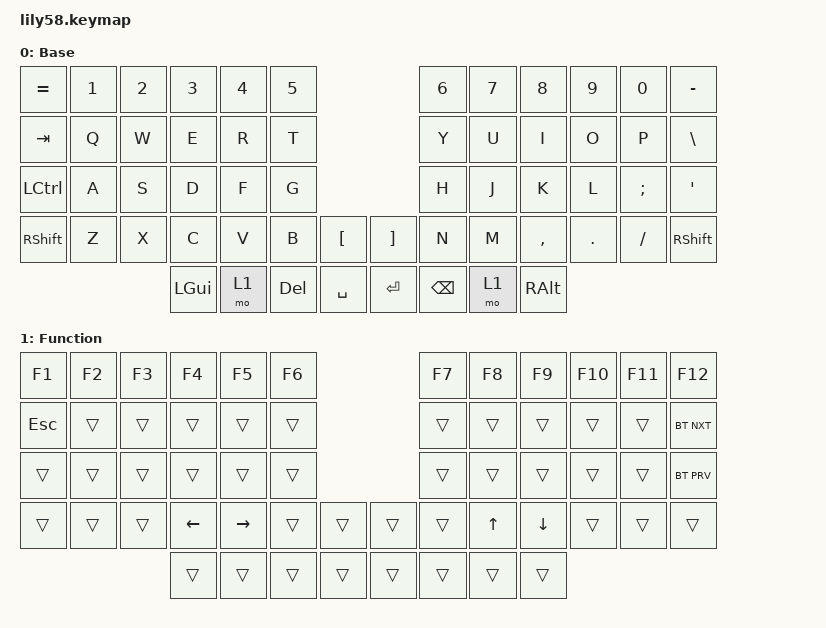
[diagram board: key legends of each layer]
/*
 * Copyright (c) 2020 The ZMK Contributors
 *
 * SPDX-License-Identifier: MIT
 */

#include <behaviors.dtsi>
#include <dt-bindings/zmk/bt.h>
#include <dt-bindings/zmk/keys.h>

/ {
    keymap {
        compatible = "zmk,keymap";

        Base {
            bindings = <
&kp EQUAL  &kp N1  &kp N2  &kp N3        &kp N4  &kp N5                           &kp N6    &kp N7  &kp N8     &kp N9   &kp N0    &kp MINUS
&kp TAB    &kp Q   &kp W   &kp E         &kp R   &kp T                            &kp Y     &kp U   &kp I      &kp O    &kp P     &kp BSLH
&kp LCTRL  &kp A   &kp S   &kp D         &kp F   &kp G                            &kp H     &kp J   &kp K      &kp L    &kp SEMI  &kp APOS
&kp RSHFT  &kp Z   &kp X   &kp C         &kp V   &kp B    &kp LBKT     &kp RBKT   &kp N     &kp M   &kp COMMA  &kp DOT  &kp FSLH  &kp RSHFT
                           &kp LEFT_GUI  &mo 1   &kp DEL  &kp SPACE    &kp ENTER  &kp BSPC  &mo 1   &kp RALT
            >;
        };

        Function {
            bindings = <
&kp F1   &kp F2  &kp F3  &kp F4    &kp F5     &kp F6                    &kp F7  &kp F8  &kp F9    &kp F10  &kp F11  &kp F12
&kp ESC  &trans  &trans  &trans    &trans     &trans                    &trans  &trans  &trans    &trans   &trans   &bt BT_NXT
&trans   &trans  &trans  &trans    &trans     &trans                    &trans  &trans  &trans    &trans   &trans   &bt BT_PRV
&trans   &trans  &trans  &kp LEFT  &kp RIGHT  &trans  &trans    &trans  &trans  &kp UP  &kp DOWN  &trans   &trans   &trans
                         &trans    &trans     &trans  &trans    &trans  &trans  &trans  &trans
            >;
        };
    };
};
